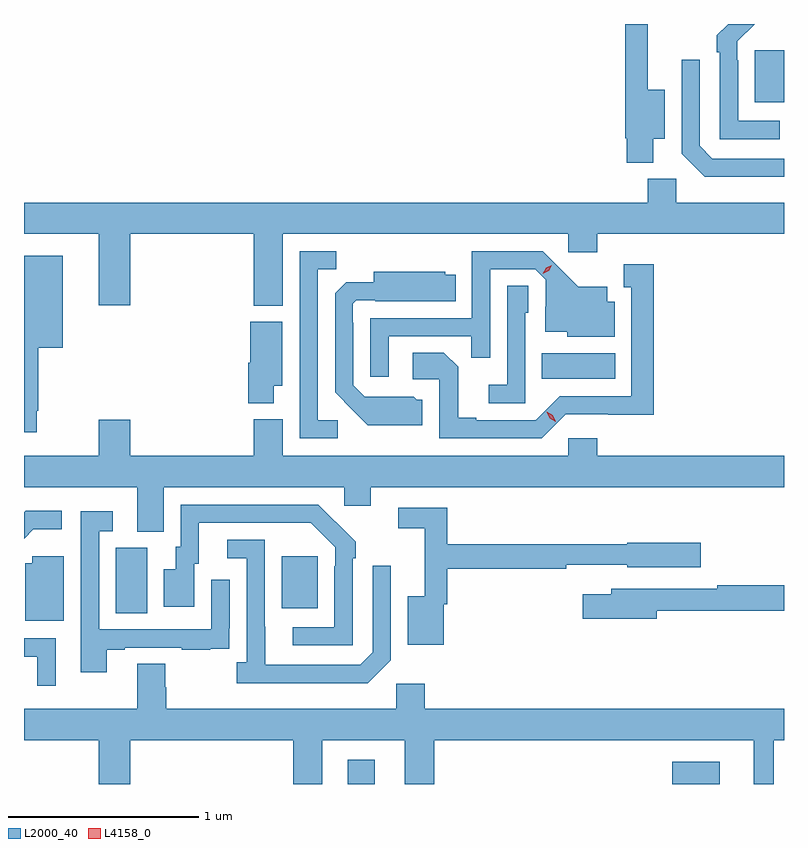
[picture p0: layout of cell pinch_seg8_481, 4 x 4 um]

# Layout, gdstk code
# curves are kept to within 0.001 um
import gdstk
lib = gdstk.Library(unit=1e-6, precision=1e-09)
def R(c, l, rs):  # rectangles x0, y0, x1, y1
    for r in rs: c.add(gdstk.rectangle(r[:2], r[2:], *l))
def P(c, l, *ps):  # polygons
    for p in ps: c.add(gdstk.Polygon(p, *l))
L2000_40 = (2000, 40)
L4158_0 = (4158, 0)

pinch_seg8_481 = lib.new_cell('pinch_seg8_481')
R(pinch_seg8_481, L2000_40, [(226.259,1137.581,226.399,1137.709), (227.966,1137.581,228.217,1137.697), (225.038,1138.48,225.202,1138.824), (225.911,1138.505,226.099,1138.78), (227.278,1139.714,227.665,1139.848), (228.401,1141.169,228.554,1141.444)])
P(pinch_seg8_481, L2000_40, [(228.532,1141.071),(228.312,1141.071),(228.312,1141.391),(228.309,1141.391),(228.309,1141.491),(228.399,1141.581),(228.261,1141.581),(228.201,1141.521),(228.201,1141.433),(228.216,1141.433),(228.216,1140.975),(228.532,1140.975)],
  [(227.866,1140.977),(227.926,1140.977),(227.926,1141.234),(227.837,1141.234),(227.837,1141.581),(227.719,1141.581),(227.719,1140.981),(227.726,1140.981),(227.726,1140.851),(227.866,1140.851)],
  [(228.554,1140.873),(228.177,1140.873),(228.111,1140.939),(228.111,1141.393),(228.015,1141.393),(228.015,1140.897),(228.136,1140.776),(228.554,1140.776)],
  [(225.916,1140.476),(227.418,1140.476),(227.418,1140.381),(227.57,1140.381),(227.57,1140.476),(228.554,1140.476),(228.554,1140.64),(227.988,1140.64),(227.988,1140.766),(227.837,1140.766),(227.837,1140.64),(224.554,1140.64),(224.554,1140.476),(224.948,1140.476),(224.948,1140.102),(225.112,1140.102),(225.112,1140.476),(225.764,1140.476),(225.764,1140.098),(225.916,1140.098)],
  [(226.204,1139.496),(226.101,1139.496),(226.101,1140.289),(226.197,1140.289),(226.197,1140.384),(226.005,1140.384),(226.005,1139.4),(226.204,1139.4)],
  [(226.473,1139.937),(226.909,1139.937),(226.909,1139.824),(227.007,1139.824),(227.007,1140.291),(227.244,1140.291),(227.301,1140.234),(227.301,1140.092),(227.297,1140.092),(227.297,1139.96),(227.412,1139.96),(227.412,1139.936),(227.662,1139.936),(227.662,1140.118),(227.623,1140.118),(227.623,1140.199),(227.471,1140.199),(227.284,1140.384),(226.911,1140.384),(226.911,1140.033),(226.377,1140.033),(226.377,1139.724),(226.473,1139.724)],
  [(224.621,1139.545),(224.629,1139.545),(224.629,1139.876),(224.758,1139.876),(224.758,1140.361),(224.554,1140.361),(224.554,1139.433),(224.621,1139.433)],
  [(227.406,1139.526),(227.869,1139.525),(227.869,1140.316),(227.711,1140.316),(227.711,1140.195),(227.75,1140.195),(227.75,1139.622),(227.373,1139.622),(227.247,1139.496),(226.933,1139.496),(226.933,1139.509),(226.839,1139.509),(226.839,1139.776),(226.763,1139.852),(226.599,1139.852),(226.599,1139.712),(226.74,1139.712),(226.74,1139.4),(227.28,1139.4)],
  [(226.651,1139.604),(226.62,1139.604),(226.604,1139.62),(226.347,1139.619),(226.287,1139.679),(226.287,1140.008),(226.284,1140.008),(226.284,1140.108),(226.302,1140.126),(226.402,1140.126),(226.402,1140.122),(226.826,1140.122),(226.826,1140.262),(226.77,1140.262),(226.77,1140.277),(226.394,1140.277),(226.394,1140.223),(226.25,1140.223),(226.191,1140.164),(226.191,1139.642),(226.363,1139.468),(226.651,1139.468)],
  [(227.193,1140.06),(227.208,1140.06),(227.208,1140.203),(227.097,1140.203),(227.097,1139.683),(227.001,1139.683),(227.001,1139.586),(227.193,1139.586)],
  [(225.868,1139.678),(225.913,1139.678),(225.913,1140.013),(225.746,1140.013),(225.746,1139.799),(225.734,1139.799),(225.734,1139.585),(225.868,1139.585)],
  [(225.289,1139.144),(226.239,1139.144),(226.239,1139.046),(226.378,1139.046),(226.378,1139.144),(228.554,1139.144),(228.554,1139.308),(227.57,1139.308),(227.57,1139.401),(227.418,1139.401),(227.418,1139.308),(225.916,1139.308),(225.916,1139.5),(225.764,1139.5),(225.764,1139.308),(225.112,1139.308),(225.112,1139.497),(224.948,1139.497),(224.948,1139.308),(224.554,1139.308),(224.554,1139.144),(225.149,1139.144),(225.149,1138.909),(225.289,1138.909)],
  [(226.284,1138.769),(226.299,1138.769),(226.299,1138.857),(226.102,1139.052),(225.378,1139.052),(225.378,1138.83),(225.353,1138.83),(225.353,1138.711),(225.29,1138.711),(225.29,1138.515),(225.451,1138.515),(225.451,1138.74),(225.475,1138.74),(225.475,1138.956),(226.063,1138.956),(226.191,1138.827),(226.191,1138.727),(226.188,1138.727),(226.188,1138.407),(225.969,1138.407),(225.969,1138.311),(226.284,1138.311)],
  [(226.762,1138.527),(226.781,1138.527),(226.781,1138.714),(227.408,1138.714),(227.408,1138.734),(227.73,1138.734),(227.73,1138.721),(228.115,1138.721),(228.115,1138.851),(227.73,1138.851),(227.73,1138.843),(226.781,1138.843),(226.781,1139.034),(226.524,1139.034),(226.524,1138.926),(226.664,1138.926),(226.664,1138.57),(226.574,1138.57),(226.574,1138.313),(226.762,1138.313)],
  [(224.603,1138.922),(224.752,1138.922),(224.752,1139.019),(224.562,1139.019),(224.554,1139.011),(224.554,1138.873)],
  [(224.989,1138.287),(225.085,1138.287),(225.085,1138.299),(225.385,1138.299),(225.385,1138.287),(225.533,1138.287),(225.533,1138.293),(225.635,1138.293),(225.635,1138.402),(225.636,1138.402),(225.636,1138.657),(225.54,1138.657),(225.54,1138.395),(224.949,1138.395),(224.949,1138.911),(225.022,1138.911),(225.022,1139.017),(224.853,1139.017),(224.853,1138.392),(224.852,1138.392),(224.852,1138.17),(224.989,1138.17)],
  [(226.485,1138.233),(226.485,1138.729),(226.389,1138.729),(226.389,1138.275),(226.323,1138.209),(225.823,1138.209),(225.822,1138.866),(225.624,1138.866),(225.624,1138.77),(225.726,1138.77),(225.726,1138.222),(225.675,1138.222),(225.675,1138.112),(226.364,1138.112)],
  [(224.764,1138.78),(224.598,1138.78),(224.598,1138.744),(224.561,1138.744),(224.561,1138.439),(224.764,1138.439)],
  [(227.884,1138.492),(228.554,1138.492),(228.554,1138.628),(228.202,1138.628),(228.202,1138.608),(227.645,1138.608),(227.645,1138.579),(227.496,1138.579),(227.496,1138.45),(227.884,1138.45)],
  [(224.722,1138.347),(224.554,1138.347),(224.554,1138.251),(224.624,1138.251),(224.624,1138.098),(224.722,1138.098)],
  [(226.664,1138.108),(226.512,1138.108),(226.512,1137.976),(225.302,1137.976),(225.302,1138.089),(225.297,1138.089),(225.297,1138.214),(225.149,1138.214),(225.149,1137.976),(224.554,1137.976),(224.554,1137.812),(224.948,1137.812),(224.948,1137.581),(225.112,1137.581),(225.112,1137.812),(225.971,1137.812),(225.971,1137.581),(226.123,1137.581),(226.123,1137.812),(226.559,1137.812),(226.559,1137.581),(226.712,1137.581),(226.712,1137.812),(228.395,1137.812),(228.395,1137.581),(228.499,1137.581),(228.499,1137.812),(228.554,1137.812),(228.554,1137.976),(226.664,1137.976)])
P(pinch_seg8_481, L4158_0, [(227.284,1140.267),(227.284,1140.267),(227.302,1140.297),(227.332,1140.312),(227.332,1140.312),(227.332,1140.312),(227.315,1140.282),(227.285,1140.267)],
  [(227.353,1139.488),(227.322,1139.507),(227.304,1139.539),(227.304,1139.54),(227.304,1139.54),(227.336,1139.521),(227.353,1139.488),(227.353,1139.488)])

lib.write_gds('pinch_seg8_481.gds')
